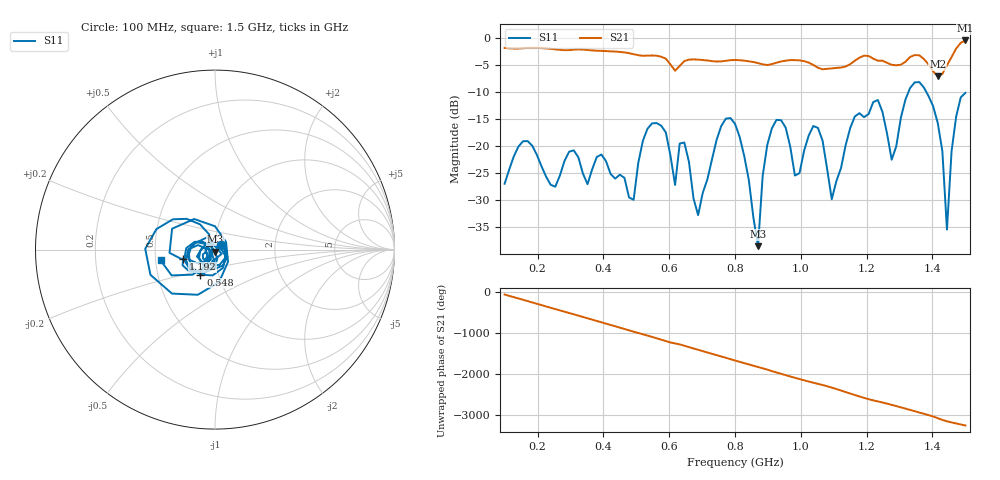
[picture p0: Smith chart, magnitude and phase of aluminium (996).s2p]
! NanoVNA-App
! Date: 2025-09-25 15:03:02
! Start: 100MHz Stop: 1,5GHz Points: 101
! S-Parameter data: F S11 S21 S12 S22
# Hz S RI R 50
!  Frequency  S11_Real  S11_Imag  S21_Real  S21_Imag  S12_Real  S12_Imag  S22_Real  S22_Imag
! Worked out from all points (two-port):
!   101 points, 100 MHz to 1.5 GHz, reference 50 ohm
!   highest |S21| = -0.54 dB at 1.5 GHz (marker M1); lowest = -7.1 dB at 1.416 GHz (marker M2)
!   |S21| within 3 dB of the highest: start of sweep to 576 MHz; 1.458 GHz to end of sweep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
!   lowest |S11| = -38.5 dB at 870 MHz (marker M3), VSWR 1.02, Z = 50.1 - j1.19 ohm
!   |S11| at or under -10 dB: start of sweep to 1.327 GHz; 1.381 GHz to end of sweep
!   S12 and S22 are empty: the file has one direction only
!   S11 on the Smith chart (normalised r, x): 100 MHz: 1.07, +0.06; 548 MHz: 0.82, -0.24; 1.192 GHz: 0.70, -0.07; 1.5 GHz: 0.53, -0.07
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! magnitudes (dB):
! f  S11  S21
! 100 MHz  -27.0  -1.9
! 156 MHz  -19.1  -2.0
! 338 MHz  -25.1  -2.2
! 492 MHz  -29.9  -3.1
! 548 MHz  -15.8  -3.3
! 576 MHz  -16.3  -3.5
! 618 MHz  -27.2  -6.1
! 646 MHz  -19.4  -4.3
! 688 MHz  -32.7  -4.1
! 800 MHz  -15.9  -4.1
! 870 MHz  -38.5  -4.7
! 912 MHz  -16.7  -4.9
! 982 MHz  -25.4  -4.2
! 1.038 GHz  -16.3  -5.1
! 1.094 GHz  -29.8  -5.7
! 1.192 GHz  -14.7  -3.3
! 1.276 GHz  -22.5  -5.0
! 1.346 GHz  -8.3  -3.2
! 1.416 GHz  -15.7  -7.1
! 1.444 GHz  -35.4  -5.1
! 1.472 GHz  -14.6  -2.0
! 1.5 GHz  -10.2  -0.5
